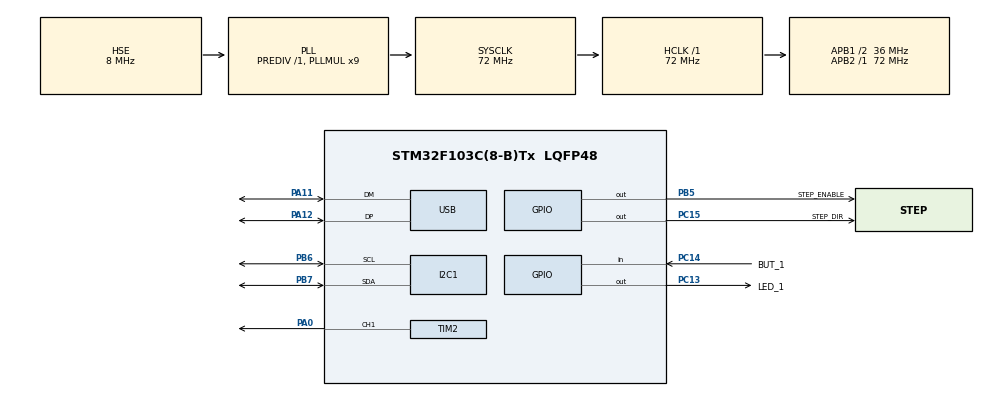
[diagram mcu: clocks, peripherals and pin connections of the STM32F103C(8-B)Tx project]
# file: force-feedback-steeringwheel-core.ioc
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Mcu.Family=STM32F1
Mcu.Name=STM32F103C(8-B)Tx
Mcu.Package=LQFP48
NVIC.PriorityGroup=NVIC_PRIORITYGROUP_4
NVIC.USB_LP_CAN1_RX0_IRQn=true\:0\:0\:false\:false\:true\:false\:true\:true
PA0-WKUP.Signal=S_TIM2_CH1_ETR
PA11.Mode=Device
PA11.Signal=USB_DM
PA12.Mode=Device
PA12.Signal=USB_DP
PA13.Mode=Serial_Wire
PA13.Signal=SYS_JTMS-SWDIO
PA14.Mode=Serial_Wire
PA14.Signal=SYS_JTCK-SWCLK
PB5.GPIO_Label=STEP_ENABLE
PB5.Signal=GPIO_Output
PB6.Mode=I2C
PB6.Signal=I2C1_SCL
PB7.Mode=I2C
PB7.Signal=I2C1_SDA
PC13-TAMPER-RTC.GPIO_Label=LED_1
PC13-TAMPER-RTC.Signal=GPIO_Output
PC14-OSC32_IN.GPIO_Label=BUT_1
PC14-OSC32_IN.GPIO_PuPd=GPIO_PULLUP
PC14-OSC32_IN.Signal=GPIO_Input
PC15-OSC32_OUT.GPIO_Label=STEP_DIR
PC15-OSC32_OUT.GPIO_PuPd=GPIO_NOPULL
PC15-OSC32_OUT.Signal=GPIO_Output
PD0-OSC_IN.Mode=HSE-External-Oscillator
PD0-OSC_IN.Signal=RCC_OSC_IN
PD1-OSC_OUT.Mode=HSE-External-Oscillator
PD1-OSC_OUT.Signal=RCC_OSC_OUT
ProjectManager.HeapSize=0x200
ProjectManager.StackSize=0x400
ProjectManager.TargetToolchain=STM32CubeIDE
RCC.AHBFreq_Value=72000000
RCC.APB1CLKDivider=RCC_HCLK_DIV2
RCC.APB1Freq_Value=36000000
RCC.APB1TimFreq_Value=72000000
RCC.APB2Freq_Value=72000000
RCC.APB2TimFreq_Value=72000000
RCC.HCLKFreq_Value=72000000
RCC.PLLMUL=RCC_PLL_MUL9
RCC.PLLSourceVirtual=RCC_PLLSOURCE_HSE
RCC.SYSCLKFreq_VALUE=72000000
RCC.SYSCLKSource=RCC_SYSCLKSOURCE_PLLCLK
RCC.USBFreq_Value=48000000
RCC.USBPrescaler=RCC_USBCLKSOURCE_PLL_DIV1_5
SH.S_TIM2_CH1_ETR.0=TIM2_CH1,PWM Generation1 CH1
TIM2.Channel-PWM\ Generation1\ CH1=TIM_CHANNEL_1
TIM2.ClockDivision=TIM_CLOCKDIVISION_DIV1
TIM2.Period=600 -1
TIM2.Prescaler=72-1
TIM2.Pulse-PWM\ Generation1\ CH1=200
USB_DEVICE.CLASS_NAME_FS=CUSTOM_HID
USB_DEVICE.MANUFACTURER_STRING=beunprogrammeur
USB_DEVICE.PRODUCT_STRING_CUSTOMHID_FS=beun force feedback steering wheel
USB_DEVICE.USBD_CUSTOMHID_OUTREPORT_BUF_SIZE=64
USB_DEVICE.USBD_CUSTOM_HID_REPORT_DESC_SIZE=52
USB_DEVICE.VirtualMode=CustomHid
USB_DEVICE.VirtualModeFS=Custom_Hid_FS
VP_TIM2_VS_ClockSourceINT.Mode=Internal
VP_USB_DEVICE_VS_USB_DEVICE_CUSTOM_HID_FS.Mode=CUSTOM_HID_FS
board=custom

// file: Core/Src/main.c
/* USER CODE BEGIN Header */
/**
  ******************************************************************************
  * @file           : main.c
  * @brief          : Main program body
  ******************************************************************************
  * @attention
  *
  * Copyright (c) 2024 STMicroelectronics.
  * All rights reserved.
  *
  * This software is licensed under terms that can be found in the LICENSE file
  * in the root directory of this software component.
  * If no LICENSE file comes with this software, it is provided AS-IS.
  *
  ******************************************************************************
  */
/* USER CODE END Header */
#include "main.h"
#include "i2c.h"
#include "tim.h"
#include "usb_device.h"
#include "gpio.h"

/* USER CODE BEGIN Includes */
#include "stdbool.h"
#include "stdint.h"
#include "AS5600.h"
#include "usbd_customhid.h"

/* USER CODE END Includes */

void SystemClock_Config(void);

int main(void)
{

  /* MCU Configuration--------------------------------------------------------*/

  /* Reset of all peripherals, Initializes the Flash interface and the Systick. */
  HAL_Init();

  /* Configure the system clock */
  SystemClock_Config();

  /* Initialize all configured peripherals */
  MX_GPIO_Init();
  MX_USB_DEVICE_Init();
  MX_TIM2_Init();
  MX_I2C1_Init();
  /* USER CODE BEGIN 2 */
  uint8_t button_pressed = false;
  uint8_t previous_button_pressed = false;
  extern USBD_HandleTypeDef hUsbDeviceFS;

  STEPPER_Disable();
  HAL_TIM_PWM_Start(&htim2, TIM_CHANNEL_1);

  AS5600_init(&hi2c1);
  AS5600_set_home();

  const int32_t precision = 4092;
  const int32_t ticks_per_degree = 1138; // (int)(4092f / 360f * 100)
  int32_t angle = 0;
  int32_t angle_max =  2 * ticks_per_degree / 100;
  int32_t angle_min = -2 * ticks_per_degree / 100;
  /* USER CODE END 2 */

  /* Infinite loop */
  while (1)
  {

    /* USER CODE BEGIN 3 */
	  button_pressed = !HAL_GPIO_ReadPin(BUT_1_GPIO_Port, BUT_1_Pin);
	  if(previous_button_pressed != button_pressed)
	  {
		  uint8_t report[15] ={
			  1, // report ID
			  button_pressed,
			  0,0,0,0,0,
			  0,0,0,0,0,0,0,0
		  };
		  USBD_CUSTOM_HID_SendReport(&hUsbDeviceFS, report, sizeof(report) / sizeof(report[0]));
		  HAL_GPIO_TogglePin(STEP_DIR_GPIO_Port, STEP_DIR_Pin);
	  }

	  previous_button_pressed = button_pressed;

	  angle = AS5600_get_angle();

	  // apply force feedback
	  if(angle > angle_max)
	  {
		  STEPPER_CounterClockwise();
		  STEPPER_Enable();
	  }
	  else if (angle < angle_min)
	  {
		  STEPPER_Clockwise();
		  STEPPER_Enable();
	  }
	  else
	  {
		  // TODO: disable the steppers after a few milliseconds to prevent overshooting.
		  STEPPER_Disable();
	  }

  }
  /* USER CODE END 3 */
}

void SystemClock_Config(void)
{
  RCC_OscInitTypeDef RCC_OscInitStruct = {0};
  RCC_ClkInitTypeDef RCC_ClkInitStruct = {0};
  RCC_PeriphCLKInitTypeDef PeriphClkInit = {0};

  /** Initializes the RCC Oscillators according to the specified parameters
  * in the RCC_OscInitTypeDef structure.
  */
  RCC_OscInitStruct.OscillatorType = RCC_OSCILLATORTYPE_HSE;
  RCC_OscInitStruct.HSEState = RCC_HSE_ON;
  RCC_OscInitStruct.HSEPredivValue = RCC_HSE_PREDIV_DIV1;
  RCC_OscInitStruct.HSIState = RCC_HSI_ON;
  RCC_OscInitStruct.PLL.PLLState = RCC_PLL_ON;
  RCC_OscInitStruct.PLL.PLLSource = RCC_PLLSOURCE_HSE;
  RCC_OscInitStruct.PLL.PLLMUL = RCC_PLL_MUL9;
  if (HAL_RCC_OscConfig(&RCC_OscInitStruct) != HAL_OK)
  {
    Error_Handler();
  }

  /** Initializes the CPU, AHB and APB buses clocks
  */
  RCC_ClkInitStruct.ClockType = RCC_CLOCKTYPE_HCLK|RCC_CLOCKTYPE_SYSCLK
                              |RCC_CLOCKTYPE_PCLK1|RCC_CLOCKTYPE_PCLK2;
  RCC_ClkInitStruct.SYSCLKSource = RCC_SYSCLKSOURCE_PLLCLK;
  RCC_ClkInitStruct.AHBCLKDivider = RCC_SYSCLK_DIV1;
  RCC_ClkInitStruct.APB1CLKDivider = RCC_HCLK_DIV2;
  RCC_ClkInitStruct.APB2CLKDivider = RCC_HCLK_DIV1;

  if (HAL_RCC_ClockConfig(&RCC_ClkInitStruct, FLASH_LATENCY_2) != HAL_OK)
  {
    Error_Handler();
  }
  PeriphClkInit.PeriphClockSelection = RCC_PERIPHCLK_USB;
  PeriphClkInit.UsbClockSelection = RCC_USBCLKSOURCE_PLL_DIV1_5;
  if (HAL_RCCEx_PeriphCLKConfig(&PeriphClkInit) != HAL_OK)
  {
    Error_Handler();
  }
}

/* USER CODE BEGIN 4 */
void STEPPER_Enable()
{
	// the A4988's Enable state is ACTIVE LOW
	HAL_GPIO_WritePin(STEP_ENABLE_GPIO_Port, STEP_ENABLE_Pin, GPIO_PIN_RESET);
}

void STEPPER_Disable()
{
	HAL_GPIO_WritePin(STEP_ENABLE_GPIO_Port, STEP_ENABLE_Pin, GPIO_PIN_SET);
}

void STEPPER_Clockwise()
{
	HAL_GPIO_WritePin(STEP_DIR_GPIO_Port, STEP_DIR_Pin, GPIO_PIN_SET);
}

void STEPPER_CounterClockwise()
{
	HAL_GPIO_WritePin(STEP_DIR_GPIO_Port, STEP_DIR_Pin, GPIO_PIN_RESET);
}

void STEPPER_Step()
{
	// not used. stepping is performed using the PWM timer.
}

float STEPPER_ReadAngle()
{
	const uint8_t AS5600_DEVICE_ADDRESS = 0x6C;
	const uint8_t AS5600_REGISTER_STATUS = 0x0B;
	const uint8_t AS5600_REGISTER_RAW_ANGLE_HI = 0x0C;
	const uint8_t AS5600_REGISTER_RAW_ANGLE_LO = 0x0D;
	const uint16_t precision = 4096; // the AS5600 encoder has a precision of 4096 counts

	uint8_t buffer[2];
	buffer[0] = AS5600_REGISTER_RAW_ANGLE_HI;

	HAL_I2C_Master_Transmit(&hi2c1, AS5600_DEVICE_ADDRESS, buffer, 1, 5);
    HAL_I2C_Master_Receive(&hi2c1, AS5600_DEVICE_ADDRESS, buffer, 2, 5);
    uint16_t adjusted_angle = buffer[0] << 8 | buffer[1];

    return 360.0f / (float)precision * (float)adjusted_angle;
}
/* USER CODE END 4 */

void Error_Handler(void)
{
  __disable_irq();
  while (1)
  {
  }
}
